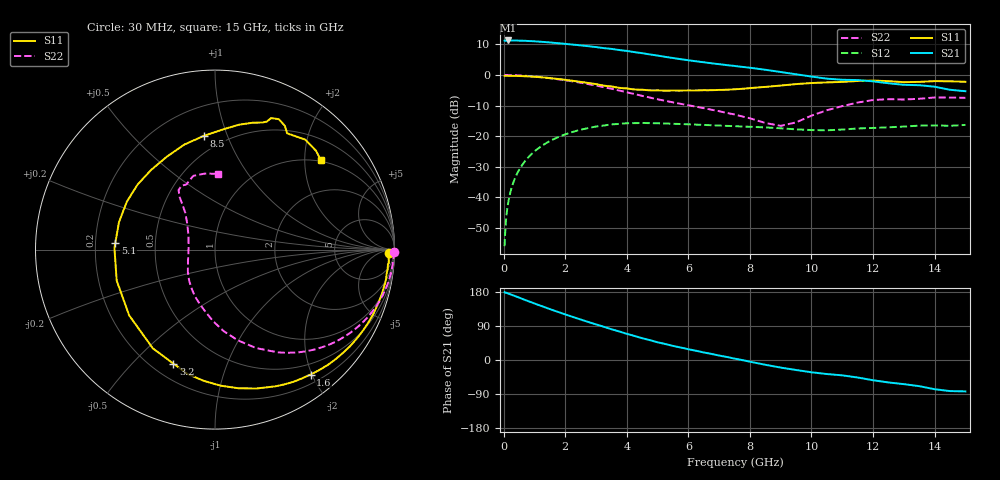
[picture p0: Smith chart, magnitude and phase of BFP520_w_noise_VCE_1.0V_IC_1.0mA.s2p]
! Infineon Technologies  Discrete & RF Semiconductors
! BFP520
! VCE =  1.0 V,  IC =  1.0 mA
! Common Emitter S-Parameters:  Oct 2015
# GHz  S  MA  R  50
!  f  S11  S21  S12  S22
! GHz  MAG  ANG  MAG  ANG  MAG  ANG  MAG  ANG
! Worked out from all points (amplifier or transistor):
!   109 points, 30 MHz to 15 GHz, reference 50 ohm
!   highest |S21| = 11.3 dB at 140 MHz (marker M1)
!   |S21| within 3 dB of that: start of sweep to 3.668 GHz
!   unconditionally stable (mu >= 1): 5.508 GHz to end of sweep
!   at 450 MHz: K = 0.02, MSG = 21.6 dB, |S12| = -31.9 dB
!   at 4 GHz: K = 0.63, MSG = 11.8 dB, |S12| = -15.8 dB
!   at 15 GHz: K = 2.07, MAG = -0.4 dB, |S12| = -16.3 dB
!   lowest NFmin = 0.87 dB at 900 MHz
!   S11 on the Smith chart (normalised r, x): 30 MHz: 48, -26; 1.6 GHz: 0.33, -1.98; 3.2 GHz: 0.28, -0.66; 5.1 GHz: 0.29, +0.03; 8.5 GHz: 0.39, +0.83; 15 GHz: 0.96, +2.39
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0.03  0.9685 -1.0  3.634 179.0  0.0016 90.0  0.9952 -0.7
0.04  0.9703 -1.3  3.644 178.3  0.0023 90.7  0.9953 -0.9
0.07  0.9718 -2.2  3.653 177.4  0.004 90.8  0.9955 -1.5
0.14  0.9713 -4.5  3.654 175.7  0.0078 88.1  0.9947 -3.1
0.3  0.9672 -9.6  3.647 170.8  0.0168 84.7  0.9906 -6.6
0.6  0.9562 -19.2  3.62 161.5  0.0338 79.0  0.9753 -13.2
1.1  0.9252 -35.6  3.508 146.2  0.0619 68.6  0.931 -23.8
1.6  0.8762 -52.6  3.358 131.4  0.0882 58.0  0.8705 -33.7
2  0.8327 -66.2  3.218 120.3  0.1071 49.6  0.8173 -41.1
2.6  0.7586 -87.7  2.999 104.2  0.1309 37.4  0.7312 -51.7
3.2  0.6762 -110.0  2.762 89.0  0.148 25.5  0.6391 -61.8
4  0.6026 -142.5  2.469 69.0  0.1626 10.7  0.521 -75.9
4.5  0.5743 -162.5  2.267 57.5  0.1646 2.4  0.4554 -84.1
5.1  0.5565 176.1  2.031 45.0  0.1619 -5.8  0.391 -92.5
6.5  0.5634 139.9  1.61 19.9  0.1527 -19.6  0.2868 -112.3
7.6  0.5865 115.1  1.381 2.2  0.145 -27.3  0.2194 -131.5
8.5  0.6375 95.4  1.214 -12.6  0.1389 -32.8  0.1643 -156.3
9  0.6706 86.3  1.116 -20.0  0.1344 -35.5  0.1474 178.2
10.5  0.7554 69.6  0.869 -37.0  0.1247 -36.8  0.2649 128.8
12  0.8091 63.9  0.785 -53.4  0.1362 -40.2  0.3893 121.4
13  0.7621 58.2  0.69 -63.7  0.1435 -44.2  0.3964 113.6
15  0.7722 40.3  0.542 -82.9  0.1528 -54.4  0.4226 87.7
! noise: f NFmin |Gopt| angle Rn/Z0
0.45  0.88  0.79  5  0.61
0.9  0.87  0.75  15  0.62
1.9  1.31  0.61  32  0.51
2.4  1.44  0.57  45  0.48
3.5  1.45  0.55  70  0.41
